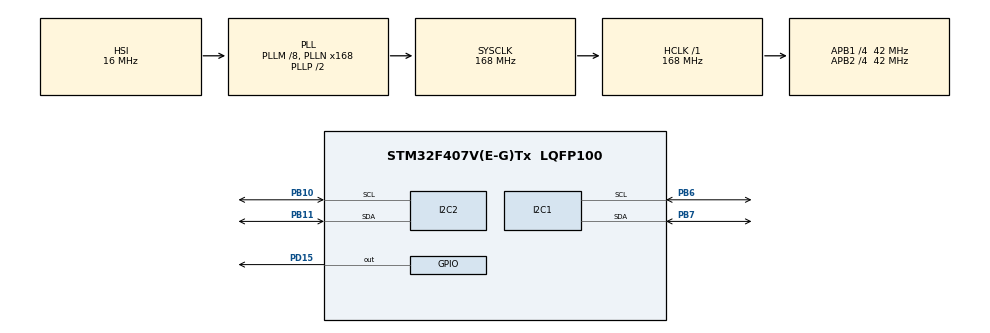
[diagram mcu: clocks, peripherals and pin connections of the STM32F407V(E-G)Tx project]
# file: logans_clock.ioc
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Mcu.Family=STM32F4
Mcu.Name=STM32F407V(E-G)Tx
Mcu.Package=LQFP100
NVIC.PriorityGroup=NVIC_PRIORITYGROUP_4
PA13.Mode=Serial_Wire
PA13.Signal=SYS_JTMS-SWDIO
PA14.Mode=Serial_Wire
PA14.Signal=SYS_JTCK-SWCLK
PB10.Mode=I2C
PB10.Signal=I2C2_SCL
PB11.Mode=I2C
PB11.Signal=I2C2_SDA
PB6.Mode=I2C
PB6.Signal=I2C1_SCL
PB7.Mode=I2C
PB7.Signal=I2C1_SDA
PD15.Signal=GPIO_Output
PH0-OSC_IN.Mode=HSE-External-Oscillator
PH0-OSC_IN.Signal=RCC_OSC_IN
PH1-OSC_OUT.Mode=HSE-External-Oscillator
PH1-OSC_OUT.Signal=RCC_OSC_OUT
ProjectManager.HeapSize=0x200
ProjectManager.StackSize=0x400
ProjectManager.TargetToolchain=MDK-ARM V5.32
RCC.48MHZClocksFreq_Value=84000000
RCC.AHBFreq_Value=168000000
RCC.APB1CLKDivider=RCC_HCLK_DIV4
RCC.APB1Freq_Value=42000000
RCC.APB1TimFreq_Value=84000000
RCC.APB2CLKDivider=RCC_HCLK_DIV4
RCC.APB2Freq_Value=42000000
RCC.APB2TimFreq_Value=84000000
RCC.CortexFreq_Value=168000000
RCC.HCLKFreq_Value=168000000
RCC.HSE_VALUE=25000000
RCC.HSI_VALUE=16000000
RCC.LSE_VALUE=32768
RCC.PLLM=8
RCC.PLLN=168
RCC.SYSCLKFreq_VALUE=168000000
RCC.SYSCLKSource=RCC_SYSCLKSOURCE_PLLCLK
RCC.VCOOutputFreq_Value=336000000
TIM1.Period=65535
TIM1.Prescaler=83
VP_TIM1_VS_ClockSourceINT.Mode=Internal
board=custom

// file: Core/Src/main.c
/* USER CODE BEGIN Header */
/**
  ******************************************************************************
  * @file           : main.c
  * @brief          : Main program body
  ******************************************************************************
  * @attention
  *
  * Copyright (c) 2025 STMicroelectronics.
  * All rights reserved.
  *
  * This software is licensed under terms that can be found in the LICENSE file
  * in the root directory of this software component.
  * If no LICENSE file comes with this software, it is provided AS-IS.
  *
  ******************************************************************************
  */
/* USER CODE END Header */
#include "main.h"

/* USER CODE BEGIN Includes */
#include "lcd_i2c.h"
/* USER CODE END Includes */

I2C_HandleTypeDef hi2c1;
I2C_HandleTypeDef hi2c2;

TIM_HandleTypeDef htim1;

void SystemClock_Config(void);
static void MX_GPIO_Init(void);
static void MX_TIM1_Init(void);
static void MX_I2C1_Init(void);
static void MX_I2C2_Init(void);

/* USER CODE BEGIN 0 */
#define DS3231_DEVICE_ID      0xD0
#define DS3231_SECONDS_REG    0x00
#define DS3231_MINUTES_REG    0x01
#define DS3231_HOURS_REG      0x02
#define DS3231_DAY_REG        0x03
#define DS3231_DATE_REG       0x04
#define DS3231_MONTH_REG      0x05
#define DS3231_YEAR_REG       0x06
#define DS3231_TEMP_MSB_REG   0x11
#define DS3231_TEMP_LSB_REG   0x12

typedef struct{
	uint8_t seconds;
	uint8_t minutes;
	uint8_t hours;
	uint8_t months;
	uint8_t day_of_weeks;
	uint8_t day_of_months;
	uint16_t years;
}LOGAN_CLOCK;
LOGAN_CLOCK clock;

// Cai dat giay phut gio ngay thang nam;
uint8_t set_time_ne[7];
uint8_t get_time_ne[7];

uint8_t test, test1;

float Temp;

uint8_t decimal_bcd(uint8_t value){
	return ((value/10)<<4)|(value%10);
}

uint8_t bcd_decimal(uint8_t bcd){
	// 0b0100 0111 -> 47
	// value>>4 ->0000 0100
	return ((bcd >> 4) * 10) + (bcd & 0x0F);
}

void set_time(uint8_t second, uint8_t minute, uint8_t hour, uint8_t day_of_week, uint8_t day_of_month, uint8_t month, uint16_t year){
	set_time_ne[0] = decimal_bcd(second);
	set_time_ne[1] = decimal_bcd(minute);
	set_time_ne[2] = decimal_bcd(hour);
	set_time_ne[3] = decimal_bcd(day_of_week);
	set_time_ne[4] = decimal_bcd(day_of_month);
	set_time_ne[5] = decimal_bcd(month);
	set_time_ne[6] = decimal_bcd(year);
	HAL_I2C_Mem_Write(&hi2c1, DS3231_DEVICE_ID, 0x00, 1, set_time_ne, 7, 100);
}

void get_time(){
	HAL_I2C_Mem_Read(&hi2c1, DS3231_DEVICE_ID, 0x00, 1, get_time_ne, 7, 100);
	clock.seconds = bcd_decimal(get_time_ne[0]);
	clock.minutes = bcd_decimal(get_time_ne[1]);
	clock.hours = bcd_decimal(get_time_ne[2]);
	clock.day_of_weeks = bcd_decimal(get_time_ne[3]);
	clock.day_of_months = bcd_decimal(get_time_ne[4]);
	clock.months = bcd_decimal(get_time_ne[5]);
	clock.years = bcd_decimal(get_time_ne[6]);
}

void delay_us(uint32_t time){
	HAL_TIM_Base_Start(&htim1);
	htim1.Instance->CNT=0;
	while(htim1.Instance->CNT < time){
	}
	HAL_TIM_Base_Stop(&htim1);
}

void delay_ms(uint32_t time){
	for(int i=0; i<1000; i++){
		delay_us(1);
	}
}

//float Get_Temp (void)
//{
//	uint8_t temp[2];

//	HAL_I2C_Mem_Read(&hi2c1, DS3231_DEVICE_ID, 0x11, 1, temp, 2, 1000);
//	return ((temp[0])+(temp[1]>>6)/4.0);
//}

//void force_temp_conv (void)
//{
//	uint8_t status=0;
//	uint8_t control=0;
//	HAL_I2C_Mem_Read(&hi2c1, DS3231_DEVICE_ID, 0x0F, 1, &status, 1, 100);  // read status register
//	if (!(status&0x04))
//	{
//		HAL_I2C_Mem_Read(&hi2c1, DS3231_DEVICE_ID, 0x0E, 1, &control, 1, 100);  // read control register
//		HAL_I2C_Mem_Write(&hi2c1, DS3231_DEVICE_ID, 0x0E, 1, (uint8_t *)(control|(0x20)), 1, 100);
//	}
//}

/* USER CODE END 0 */

int main(void)
{

  /* MCU Configuration--------------------------------------------------------*/

  /* Reset of all peripherals, Initializes the Flash interface and the Systick. */
  HAL_Init();

  /* Configure the system clock */
  SystemClock_Config();

  /* Initialize all configured peripherals */
  MX_GPIO_Init();
  MX_TIM1_Init();
  MX_I2C1_Init();
  MX_I2C2_Init();
  /* USER CODE BEGIN 2 */
	set_time(0, 46, 8, 1, 9, 3, 2024);
	lcd_init();
	lcd_i2c_send_string("Hello");
  /* USER CODE END 2 */

  /* Infinite loop */
  while (1)
  {

    /* USER CODE BEGIN 3 */
		get_time();
	//	HAL_GPIO_TogglePin(GPIOD, GPIO_PIN_15);
		delay_us(10);
  }
  /* USER CODE END 3 */
}

void SystemClock_Config(void)
{
  RCC_OscInitTypeDef RCC_OscInitStruct = {0};
  RCC_ClkInitTypeDef RCC_ClkInitStruct = {0};

  /** Configure the main internal regulator output voltage
  */
  __HAL_RCC_PWR_CLK_ENABLE();
  __HAL_PWR_VOLTAGESCALING_CONFIG(PWR_REGULATOR_VOLTAGE_SCALE1);

  /** Initializes the RCC Oscillators according to the specified parameters
  * in the RCC_OscInitTypeDef structure.
  */
  RCC_OscInitStruct.OscillatorType = RCC_OSCILLATORTYPE_HSI;
  RCC_OscInitStruct.HSIState = RCC_HSI_ON;
  RCC_OscInitStruct.HSICalibrationValue = RCC_HSICALIBRATION_DEFAULT;
  RCC_OscInitStruct.PLL.PLLState = RCC_PLL_ON;
  RCC_OscInitStruct.PLL.PLLSource = RCC_PLLSOURCE_HSI;
  RCC_OscInitStruct.PLL.PLLM = 8;
  RCC_OscInitStruct.PLL.PLLN = 168;
  RCC_OscInitStruct.PLL.PLLP = RCC_PLLP_DIV2;
  RCC_OscInitStruct.PLL.PLLQ = 4;
  if (HAL_RCC_OscConfig(&RCC_OscInitStruct) != HAL_OK)
  {
    Error_Handler();
  }

  /** Initializes the CPU, AHB and APB buses clocks
  */
  RCC_ClkInitStruct.ClockType = RCC_CLOCKTYPE_HCLK|RCC_CLOCKTYPE_SYSCLK
                              |RCC_CLOCKTYPE_PCLK1|RCC_CLOCKTYPE_PCLK2;
  RCC_ClkInitStruct.SYSCLKSource = RCC_SYSCLKSOURCE_PLLCLK;
  RCC_ClkInitStruct.AHBCLKDivider = RCC_SYSCLK_DIV1;
  RCC_ClkInitStruct.APB1CLKDivider = RCC_HCLK_DIV4;
  RCC_ClkInitStruct.APB2CLKDivider = RCC_HCLK_DIV4;

  if (HAL_RCC_ClockConfig(&RCC_ClkInitStruct, FLASH_LATENCY_5) != HAL_OK)
  {
    Error_Handler();
  }
}

static void MX_I2C1_Init(void)
{

  hi2c1.Instance = I2C1;
  hi2c1.Init.ClockSpeed = 100000;
  hi2c1.Init.DutyCycle = I2C_DUTYCYCLE_2;
  hi2c1.Init.OwnAddress1 = 0;
  hi2c1.Init.AddressingMode = I2C_ADDRESSINGMODE_7BIT;
  hi2c1.Init.DualAddressMode = I2C_DUALADDRESS_DISABLE;
  hi2c1.Init.OwnAddress2 = 0;
  hi2c1.Init.GeneralCallMode = I2C_GENERALCALL_DISABLE;
  hi2c1.Init.NoStretchMode = I2C_NOSTRETCH_DISABLE;
  if (HAL_I2C_Init(&hi2c1) != HAL_OK)
  {
    Error_Handler();
  }

}

static void MX_I2C2_Init(void)
{

  hi2c2.Instance = I2C2;
  hi2c2.Init.ClockSpeed = 100000;
  hi2c2.Init.DutyCycle = I2C_DUTYCYCLE_2;
  hi2c2.Init.OwnAddress1 = 0;
  hi2c2.Init.AddressingMode = I2C_ADDRESSINGMODE_7BIT;
  hi2c2.Init.DualAddressMode = I2C_DUALADDRESS_DISABLE;
  hi2c2.Init.OwnAddress2 = 0;
  hi2c2.Init.GeneralCallMode = I2C_GENERALCALL_DISABLE;
  hi2c2.Init.NoStretchMode = I2C_NOSTRETCH_DISABLE;
  if (HAL_I2C_Init(&hi2c2) != HAL_OK)
  {
    Error_Handler();
  }

}

static void MX_TIM1_Init(void)
{

  TIM_ClockConfigTypeDef sClockSourceConfig = {0};
  TIM_MasterConfigTypeDef sMasterConfig = {0};

  htim1.Instance = TIM1;
  htim1.Init.Prescaler = 83;
  htim1.Init.CounterMode = TIM_COUNTERMODE_UP;
  htim1.Init.Period = 65535;
  htim1.Init.ClockDivision = TIM_CLOCKDIVISION_DIV1;
  htim1.Init.RepetitionCounter = 0;
  htim1.Init.AutoReloadPreload = TIM_AUTORELOAD_PRELOAD_DISABLE;
  if (HAL_TIM_Base_Init(&htim1) != HAL_OK)
  {
    Error_Handler();
  }
  sClockSourceConfig.ClockSource = TIM_CLOCKSOURCE_INTERNAL;
  if (HAL_TIM_ConfigClockSource(&htim1, &sClockSourceConfig) != HAL_OK)
  {
    Error_Handler();
  }
  sMasterConfig.MasterOutputTrigger = TIM_TRGO_RESET;
  sMasterConfig.MasterSlaveMode = TIM_MASTERSLAVEMODE_DISABLE;
  if (HAL_TIMEx_MasterConfigSynchronization(&htim1, &sMasterConfig) != HAL_OK)
  {
    Error_Handler();
  }

}

static void MX_GPIO_Init(void)
{
  GPIO_InitTypeDef GPIO_InitStruct = {0};

  /* GPIO Ports Clock Enable */
  __HAL_RCC_GPIOH_CLK_ENABLE();
  __HAL_RCC_GPIOB_CLK_ENABLE();
  __HAL_RCC_GPIOD_CLK_ENABLE();
  __HAL_RCC_GPIOA_CLK_ENABLE();

  /*Configure GPIO pin Output Level */
  HAL_GPIO_WritePin(GPIOD, GPIO_PIN_15, GPIO_PIN_RESET);

  /*Configure GPIO pin : PD15 */
  GPIO_InitStruct.Pin = GPIO_PIN_15;
  GPIO_InitStruct.Mode = GPIO_MODE_OUTPUT_PP;
  GPIO_InitStruct.Pull = GPIO_NOPULL;
  GPIO_InitStruct.Speed = GPIO_SPEED_FREQ_LOW;
  HAL_GPIO_Init(GPIOD, &GPIO_InitStruct);

}

void Error_Handler(void)
{
  __disable_irq();
  while (1)
  {
  }
}
